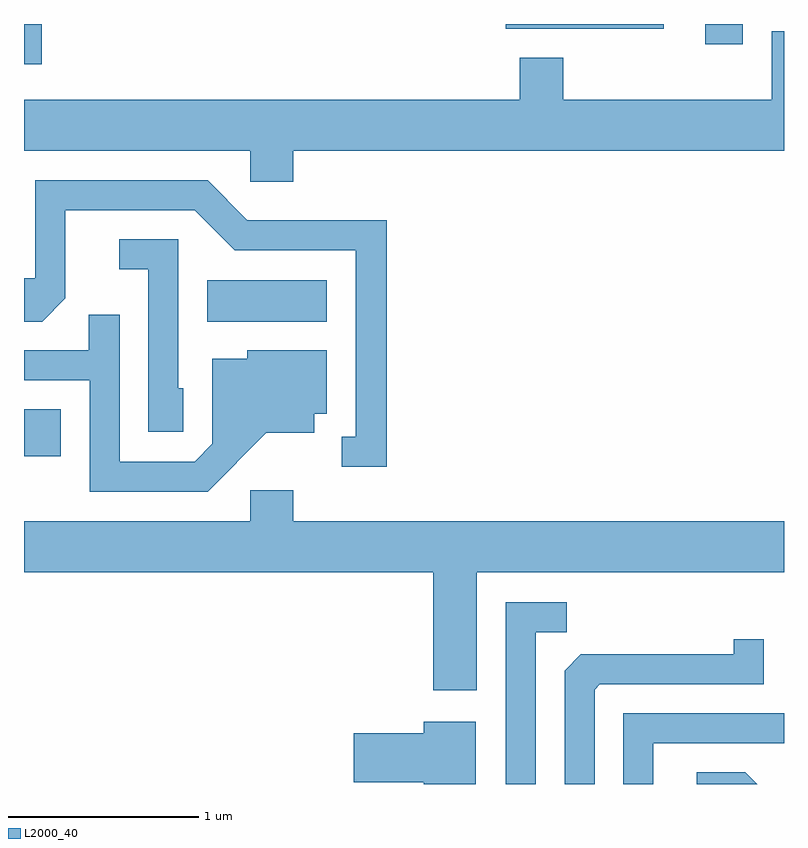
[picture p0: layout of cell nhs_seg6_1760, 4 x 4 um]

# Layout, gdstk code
import gdstk
lib = gdstk.Library(unit=1e-6, precision=1e-09)
def R(c, l, rs):  # rectangles x0, y0, x1, y1
    for r in rs: c.add(gdstk.rectangle(r[:2], r[2:], *l))
def P(c, l, *ps):  # polygons
    for p in ps: c.add(gdstk.Polygon(p, *l))
L2000_40 = (2000, 40)

nhs_seg6_1760 = lib.new_cell('nhs_seg6_1760')
R(nhs_seg6_1760, L2000_40, [(237.611,1643.886,237.804,1644.134), (238.576,1644.596,239.204,1644.814), (237.611,1645.951,237.704,1646.162), (241.196,1646.056,241.394,1646.162), (240.146,1646.136,240.978,1646.162)])
P(nhs_seg6_1760, L2000_40, [(241.611,1646.123),(241.546,1646.123),(241.546,1645.764),(240.449,1645.764),(240.449,1645.984),(240.221,1645.984),(240.221,1645.764),(237.611,1645.764),(237.611,1645.496),(238.801,1645.496),(238.801,1645.331),(239.029,1645.331),(239.029,1645.496),(241.611,1645.496)],
  [(239.519,1645.129),(238.787,1645.129),(238.577,1645.339),(237.671,1645.339),(237.671,1644.824),(237.611,1644.824),(237.611,1644.596),(237.707,1644.596),(237.829,1644.719),(237.829,1645.181),(238.509,1645.181),(238.719,1644.971),(239.356,1644.971),(239.356,1643.989),(239.283,1643.989),(239.283,1643.831),(239.519,1643.831)],
  [(238.449,1644.244),(238.424,1644.244),(238.424,1645.029),(238.113,1645.029),(238.113,1644.871),(238.266,1644.871),(238.266,1644.016),(238.449,1644.016)],
  [(238.887,1644.011),(239.139,1644.011),(239.139,1644.111),(239.204,1644.111),(239.204,1644.444),(238.786,1644.444),(238.786,1644.399),(238.601,1644.399),(238.601,1643.952),(238.509,1643.859),(238.114,1643.859),(238.114,1644.633),(237.951,1644.633),(237.951,1644.444),(237.611,1644.444),(237.611,1644.286),(237.956,1644.286),(237.956,1643.701),(238.577,1643.701)],
  [(239.994,1643.276),(241.611,1643.276),(241.611,1643.544),(239.029,1643.544),(239.029,1643.709),(238.801,1643.709),(238.801,1643.544),(237.611,1643.544),(237.611,1643.276),(239.766,1643.276),(239.766,1642.656),(239.994,1642.656)],
  [(240.304,1642.961),(240.468,1642.961),(240.468,1643.119),(240.146,1643.119),(240.146,1642.162),(240.304,1642.162)],
  [(240.614,1642.659),(240.642,1642.686),(241.504,1642.686),(241.504,1642.923),(241.346,1642.923),(241.346,1642.844),(240.542,1642.844),(240.456,1642.759),(240.456,1642.162),(240.614,1642.162)],
  [(240.924,1642.376),(241.611,1642.376),(241.611,1642.534),(240.766,1642.534),(240.766,1642.162),(240.924,1642.162)],
  [(239.989,1642.489),(239.716,1642.489),(239.716,1642.429),(239.346,1642.429),(239.346,1642.171),(239.716,1642.171),(239.716,1642.162),(239.989,1642.162)],
  [(241.407,1642.224),(241.151,1642.224),(241.151,1642.162),(241.469,1642.162)])

lib.write_gds('nhs_seg6_1760.gds')
